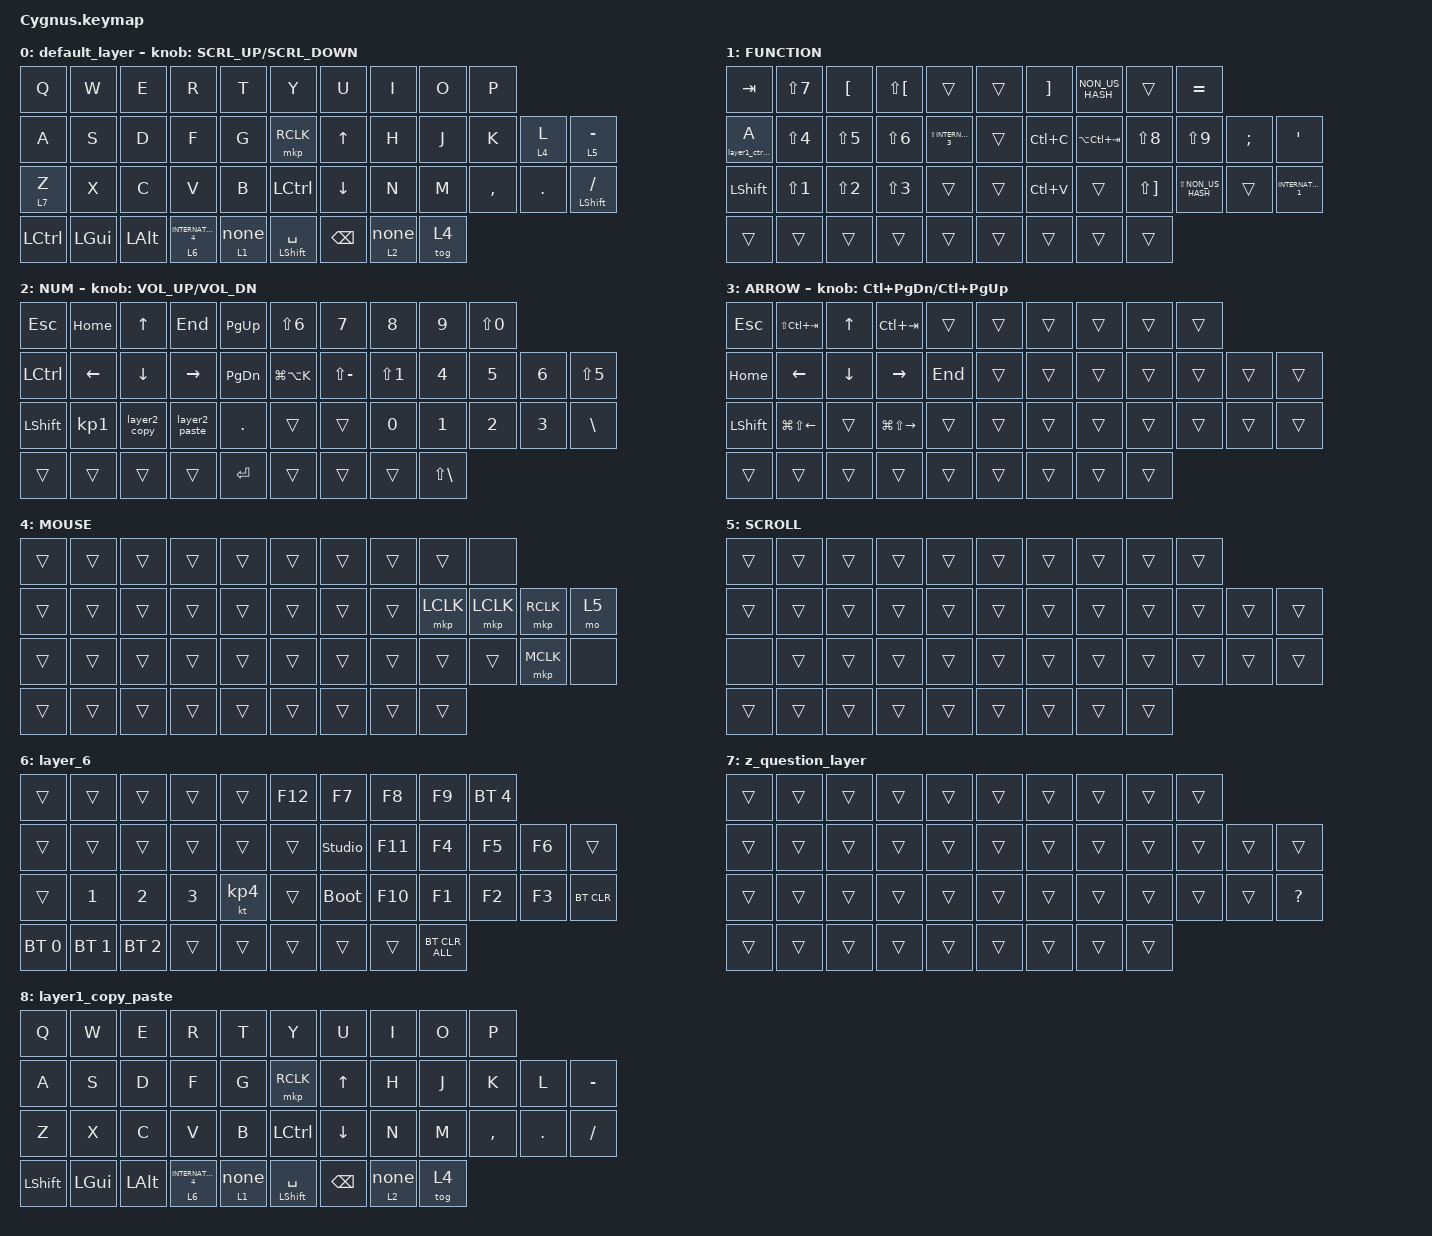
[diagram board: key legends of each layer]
#define ZMK_POINTING_DEFAULT_SCRL_VAL 120    // default: 10

#include <behaviors.dtsi>
#include <dt-bindings/zmk/bt.h>
#include <dt-bindings/zmk/keys.h>
#include <dt-bindings/zmk/modifiers.h>
#include <dt-bindings/zmk/pointing.h>

#define MOUSE 4
#define SCROLL 5
#define NUM 6

&mt {
    flavor = "balanced";
    quick-tap-ms = <0>;
};

/ {
    combos {
        compatible = "zmk,combos";

        // Default layer positions 19 = K and 20 = L (zero-based).
        prolonged_sound_mark {
            bindings = <&kp MINUS>;
            key-positions = <19 20>;
            layers = <0>;
        };

        z_held_kl_equal {
            bindings = <&kp LS(MINUS)>;
            key-positions = <19 20>;
            layers = <7>;
            timeout-ms = <50>;
        };

        qtyp_text {
            bindings = <&qtyp_text_macro>;
            key-positions = <0 4 5 9>;
            layers = <0>;
            timeout-ms = <150>;
        };

        auto_click_mode_toggle {
            bindings = <&auto_click_toggle>;
            key-positions = <42 18>;
            timeout-ms = <500>;
        };

        automation_mode_toggle {
            bindings = <&automation_toggle>;
            key-positions = <22 26 29 33>;
            timeout-ms = <150>;
        };

        double_quotation {
            bindings = <&kp DOUBLE_QUOTES>;
            key-positions = <20 21>;
        };
    };

    macros {
        layer1_ctrl_hold: layer1_ctrl_hold {
            compatible = "zmk,behavior-macro";
            #binding-cells = <0>;
            label = "LAYER1_CTRL_HOLD";
            wait-ms = <0>;
            tap-ms = <0>;
            bindings = <&macro_press>, <&kp LEFT_CONTROL>, <&mo 8>,
                       <&macro_pause_for_release>,
                       <&macro_release>, <&mo 8>, <&kp LEFT_CONTROL>;
        };

        qtyp_text_macro: qtyp_text_macro {
            compatible = "zmk,behavior-macro";
            #binding-cells = <0>;
            label = "QTYP_TEXT";
            wait-ms = <20>;
            tap-ms = <10>;
            bindings = <&kp LS(K)>, <&kp A>, <&kp N>, <&kp C>, <&kp H>,
                       <&kp I>, <&kp N1>, <&kp N7>, <&kp N2>, <&kp N9>;
        };

        to_layer_0: to_layer_0 {
            compatible = "zmk,behavior-macro-one-param";
            #binding-cells = <1>;
            bindings = <&to 0 &macro_param_1to1 &kp MACRO_PLACEHOLDER>;
            label = "TO_LAYER_0";
        };
    };

    behaviors {
        auto_click_toggle: auto_click_toggle {
            compatible = "cygnus,auto-click";
            #binding-cells = <0>;
            display-name = "Toggle 5-second left click";
        };

        automation_toggle: automation_toggle {
            compatible = "cygnus,mouse-jiggle";
            #binding-cells = <0>;
            display-name = "Toggle 3-minute cursor movement";
        };

        layer1_a_taps: layer1_a_taps {
            compatible = "zmk,behavior-tap-dance";
            #binding-cells = <0>;
            tapping-term-ms = <200>;
            bindings = <&none>, <&kp LC(A)>;
            display-name = "Double Select All";
        };

        layer2_copy: layer2_copy {
            compatible = "zmk,behavior-mod-morph";
            #binding-cells = <0>;
            display-name = "C / Ctrl+C";
            bindings = <&kp LANG1>, <&kp C>;
            mods = <(MOD_LCTL | MOD_RCTL)>;
            keep-mods = <(MOD_LCTL | MOD_RCTL)>;
        };

        layer2_paste: layer2_paste {
            compatible = "zmk,behavior-mod-morph";
            #binding-cells = <0>;
            display-name = "V / Ctrl+V";
            bindings = <&kp LANG2>, <&kp V>;
            mods = <(MOD_LCTL | MOD_RCTL)>;
            keep-mods = <(MOD_LCTL | MOD_RCTL)>;
        };

        layer1_hold_only: layer1_hold_only {
            compatible = "zmk,behavior-hold-tap";
            #binding-cells = <2>;
            flavor = "tap-preferred";
            tapping-term-ms = <200>;
            bindings = <&mo>, <&none>;
            display-name = "Hold Layer 1";
        };

        z_tap_only: z_tap_only {
            compatible = "zmk,behavior-hold-tap";
            #binding-cells = <2>;
            flavor = "hold-preferred";
            tapping-term-ms = <200>;
            quick-tap-ms = <0>;
            bindings = <&mo>, <&kp>;
            hold-trigger-key-positions = <19 20 33>;
            display-name = "Z / Question Layer";
        };

        lt_to_layer_0: lt_to_layer_0 {
            compatible = "zmk,behavior-hold-tap";
            label = "LAYER_TAP_TO_0";
            bindings = <&mo>, <&to_layer_0>;

            #binding-cells = <2>;
            tapping-term-ms = <200>;
        };

        layer1_copy_hold: layer1_copy_hold {
            compatible = "zmk,behavior-hold-tap";
            #binding-cells = <2>;
            flavor = "hold-preferred";
            tapping-term-ms = <200>;
            quick-tap-ms = <0>;
            hold-while-undecided;
            bindings = <&layer1_ctrl_hold>, <&layer1_a_taps>;
            display-name = "A / Ctrl";
        };

        ROTATE: ROTATE {
            compatible = "zmk,behavior-sensor-rotate-var";
            label = "ROTATE";
            #sensor-binding-cells = <2>;
            bindings = <&msc>, <&msc>;

            tap-ms = <20>;
        };
    };

    keymap {
        compatible = "zmk,keymap";

        default_layer {
            bindings = <
&kp Q  &kp W  &kp E  &kp R  &kp T  &kp Y  &kp U  &kp I  &kp O  &kp P
&kp A  &kp S  &kp D  &kp F  &kp G  &mkp RCLK  &kp UP_ARROW  &kp H  &kp J  &kp K  &lt 4 L  &lt 5 MINUS
&z_tap_only 7 Z  &kp X  &kp C  &kp V  &kp B  &kp LEFT_CONTROL  &kp DOWN_ARROW  &kp N  &kp M  &kp COMMA  &kp DOT  &mt LEFT_SHIFT SLASH
&kp LEFT_CONTROL  &kp LEFT_GUI  &kp LEFT_ALT  &lt 6 INTERNATIONAL_4  &layer1_hold_only 1 0  &mt LEFT_SHIFT SPACE  &kp BACKSPACE  &layer1_hold_only 2 0  &tog 4
            >;

            sensor-bindings = <&ROTATE SCRL_UP SCRL_DOWN>;
        };

        FUNCTION {
            bindings = <
&kp TAB  &kp LS(N7)  &kp LEFT_BRACKET  &kp LS(LEFT_BRACKET)  &trans  &trans  &kp RIGHT_BRACKET  &kp NON_US_HASH  &trans  &kp EQUAL
&layer1_copy_hold 0 A  &kp LS(N4)  &kp LS(N5)  &kp LS(N6)  &kp LS(INTERNATIONAL_3)  &trans  &kp LC(C)  &kp LA(LC(TAB))  &kp LS(N8)  &kp LS(N9)  &kp SEMICOLON  &kp SINGLE_QUOTE
&kp LEFT_SHIFT  &kp LS(N1)  &kp LS(N2)  &kp LS(N3)  &trans  &trans  &kp LC(V)  &trans  &kp LS(RIGHT_BRACKET)  &kp LS(NON_US_HASH)  &trans  &kp INTERNATIONAL_1
&trans  &trans  &trans  &trans  &trans  &trans  &trans  &trans  &trans
            >;
        };

        NUM {
            bindings = <
&kp ESC  &kp HOME  &kp UP_ARROW  &kp END  &kp PAGE_UP  &kp LS(N6)  &kp N7  &kp N8  &kp N9  &kp LS(N0)
&kp LEFT_CONTROL  &kp LEFT_ARROW  &kp DOWN_ARROW  &kp RIGHT_ARROW  &kp PAGE_DOWN  &kp LG(LA(K))  &kp LS(MINUS)  &kp LS(N1)  &kp N4  &kp N5  &kp N6  &kp LS(N5)
&kp LEFT_SHIFT  &kp KP_N1  &layer2_copy  &layer2_paste  &kp DOT  &trans  &trans  &kp N0  &kp N1  &kp N2  &kp N3  &kp BACKSLASH
&trans  &trans  &trans  &trans  &kp ENTER  &trans  &trans  &trans  &kp LS(BACKSLASH)
            >;

            sensor-bindings = <&inc_dec_kp C_VOL_UP C_VOL_DN>;
        };

        ARROW {
            bindings = <
&kp ESC  &kp LS(LC(TAB))  &kp UP_ARROW  &kp LC(TAB)  &trans  &trans  &trans  &trans  &trans  &trans
&kp HOME  &kp LEFT_ARROW  &kp DOWN_ARROW  &kp RIGHT_ARROW  &kp END  &trans  &trans  &trans  &trans  &trans  &trans  &trans
&kp LEFT_SHIFT  &kp LG(LS(LEFT_ARROW))  &trans  &kp LG(LS(RIGHT_ARROW))  &trans  &trans  &trans  &trans  &trans  &trans  &trans  &trans
&trans  &trans  &trans  &trans  &trans  &trans  &trans  &trans  &trans
            >;

            sensor-bindings = <&inc_dec_kp LC(PAGE_DOWN) LC(PAGE_UP)>;
        };

        MOUSE {
            bindings = <
&trans  &trans  &trans  &trans  &trans  &trans  &trans  &trans  &trans  &none
&trans  &trans  &trans  &trans  &trans  &trans  &trans  &trans  &mkp LCLK  &mkp LCLK  &mkp RCLK  &mo 5
&trans  &trans  &trans  &trans  &trans  &trans  &trans  &trans  &trans  &trans  &mkp MCLK  &none
&trans  &trans  &trans  &trans  &trans  &trans  &trans  &trans  &trans
            >;
        };

        SCROLL {
            bindings = <
&trans  &trans  &trans  &trans  &trans  &trans  &trans  &trans  &trans  &trans
&trans  &trans  &trans  &trans  &trans  &trans  &trans  &trans  &trans  &trans  &trans  &trans
&none  &trans  &trans  &trans  &trans  &trans  &trans  &trans  &trans  &trans  &trans  &trans
&trans  &trans  &trans  &trans  &trans  &trans  &trans  &trans  &trans
            >;
        };

        layer_6 {
            bindings = <
&trans  &trans  &trans  &trans  &trans  &kp F12  &kp F7  &kp F8  &kp F9  &bt BT_SEL 4
&trans  &trans  &trans  &trans  &trans  &trans  &studio_unlock  &kp F11  &kp F4  &kp F5  &kp F6  &trans
&trans  &kp N1  &kp N2  &kp N3  &kt KP_N4  &trans  &bootloader  &kp F10  &kp F1  &kp F2  &kp F3  &bt BT_CLR
&bt BT_SEL 0  &bt BT_SEL 1  &bt BT_SEL 2  &trans  &trans  &trans  &trans  &trans  &bt BT_CLR_ALL
            >;
        };

        z_question_layer {
            bindings = <
&trans  &trans  &trans  &trans  &trans  &trans  &trans  &trans  &trans  &trans
&trans  &trans  &trans  &trans  &trans  &trans  &trans  &trans  &trans  &trans  &trans  &trans
&trans  &trans  &trans  &trans  &trans  &trans  &trans  &trans  &trans  &trans  &trans  &kp QUESTION
&trans  &trans  &trans  &trans  &trans  &trans  &trans  &trans  &trans
            >;
        };

        layer1_copy_paste {
            bindings = <
&kp Q  &kp W  &kp E  &kp R  &kp T  &kp Y  &kp U  &kp I  &kp O  &kp P
&kp A  &kp S  &kp D  &kp F  &kp G  &mkp RCLK  &kp UP_ARROW  &kp H  &kp J  &kp K  &kp L  &kp MINUS
&kp Z  &kp X  &kp C  &kp V  &kp B  &kp LEFT_CONTROL  &kp DOWN_ARROW  &kp N  &kp M  &kp COMMA  &kp DOT  &kp SLASH
&kp LEFT_SHIFT  &kp LEFT_GUI  &kp LEFT_ALT  &lt 6 INTERNATIONAL_4  &layer1_hold_only 1 0  &mt LEFT_SHIFT SPACE  &kp BACKSPACE  &layer1_hold_only 2 0  &tog 4
            >;
        };
    };
};
